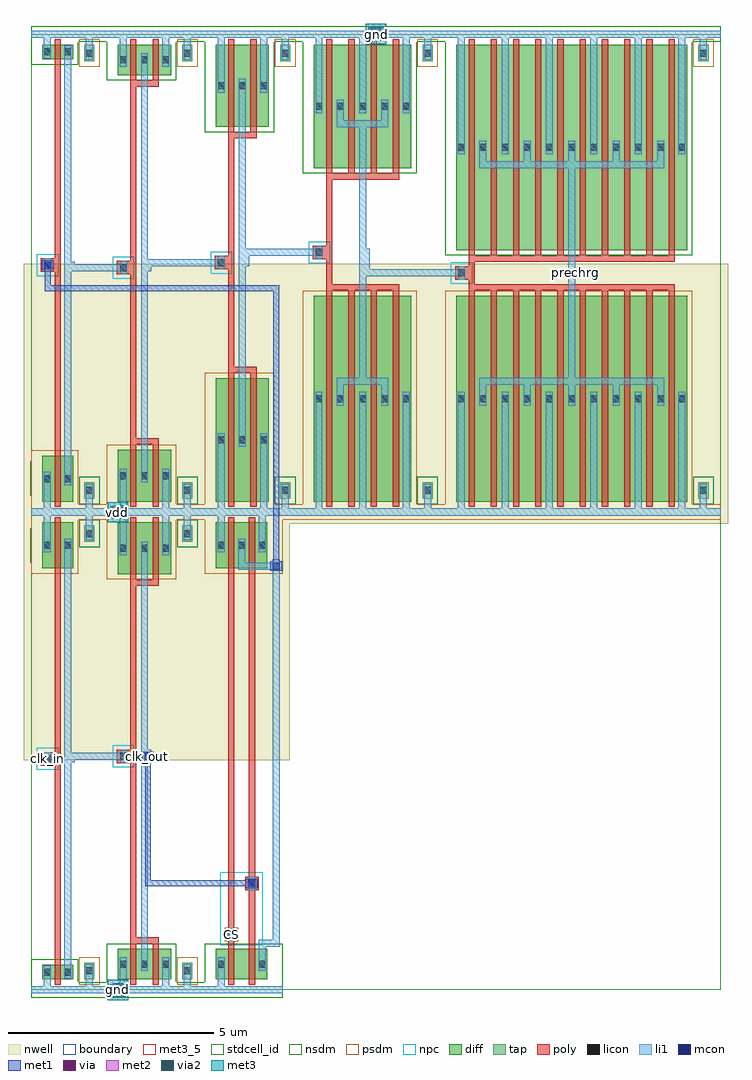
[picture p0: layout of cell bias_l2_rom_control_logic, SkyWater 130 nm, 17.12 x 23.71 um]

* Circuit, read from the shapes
.subckt bias_l2_rom_control_logic CS clk_in clk_out gnd prechrg vdd
XM1 bias_l2_rom_clock_driver_0/bias_l2_pinv_0_1/A clk_in gnd gnd sky130_fd_pr__nfet_01v8 w=0.36 l=0.15
XM2 bias_l2_rom_precharge_driver_2/bias_l2_pinv_0_1/A bias_l2_rom_precharge_driver_2/A gnd gnd sky130_fd_pr__nfet_01v8 w=0.36 l=0.15
XM3 clk_out bias_l2_rom_clock_driver_0/bias_l2_pinv_0_1/A gnd gnd sky130_fd_pr__nfet_01v8 w=0.74 l=0.15 m=2
XM4 bias_l2_rom_precharge_driver_2/bias_l2_pinv_1_2/A bias_l2_rom_precharge_driver_2/bias_l2_pinv_0_1/A gnd gnd sky130_fd_pr__nfet_01v8 w=0.74 l=0.15 m=2
XM5 bias_l2_rom_control_nand_1/bias_l2_nmos_m1_w0_740_sli_dactive_2/D CS gnd gnd sky130_fd_pr__nfet_01v8 w=0.74 l=0.15
XM6 bias_l2_rom_precharge_driver_2/bias_l2_pinv_2_3/A bias_l2_rom_precharge_driver_2/bias_l2_pinv_1_2/A gnd gnd sky130_fd_pr__nfet_01v8 w=2 l=0.15 m=2
XM7 bias_l2_rom_precharge_driver_2/A clk_out bias_l2_rom_control_nand_1/bias_l2_nmos_m1_w0_740_sli_dactive_2/D gnd sky130_fd_pr__nfet_01v8 w=0.74 l=0.15
XM8 bias_l2_rom_precharge_driver_2/bias_l2_pinv_3_4/A bias_l2_rom_precharge_driver_2/bias_l2_pinv_2_3/A gnd gnd sky130_fd_pr__nfet_01v8 w=3 l=0.15 m=4
XM9 prechrg bias_l2_rom_precharge_driver_2/bias_l2_pinv_3_4/A gnd gnd sky130_fd_pr__nfet_01v8 w=5 l=0.15 m=10
XM10 bias_l2_rom_clock_driver_0/bias_l2_pinv_0_1/A clk_in vdd vdd sky130_fd_pr__pfet_01v8 w=1.12 l=0.15
XM11 bias_l2_rom_precharge_driver_2/bias_l2_pinv_0_1/A bias_l2_rom_precharge_driver_2/A vdd vdd sky130_fd_pr__pfet_01v8 w=1.12 l=0.15
XM12 clk_out bias_l2_rom_clock_driver_0/bias_l2_pinv_0_1/A vdd vdd sky130_fd_pr__pfet_01v8 w=1.26 l=0.15 m=2
XM13 bias_l2_rom_precharge_driver_2/bias_l2_pinv_1_2/A bias_l2_rom_precharge_driver_2/bias_l2_pinv_0_1/A vdd vdd sky130_fd_pr__pfet_01v8 w=1.26 l=0.15 m=2
XM14 bias_l2_rom_precharge_driver_2/A CS vdd vdd sky130_fd_pr__pfet_01v8 w=1.12 l=0.15
XM15 bias_l2_rom_precharge_driver_2/bias_l2_pinv_2_3/A bias_l2_rom_precharge_driver_2/bias_l2_pinv_1_2/A vdd vdd sky130_fd_pr__pfet_01v8 w=3 l=0.15 m=2
XM16 vdd clk_out bias_l2_rom_precharge_driver_2/A vdd sky130_fd_pr__pfet_01v8 w=1.12 l=0.15
XM17 bias_l2_rom_precharge_driver_2/bias_l2_pinv_3_4/A bias_l2_rom_precharge_driver_2/bias_l2_pinv_2_3/A vdd vdd sky130_fd_pr__pfet_01v8 w=5 l=0.15 m=4
XM18 prechrg bias_l2_rom_precharge_driver_2/bias_l2_pinv_3_4/A vdd vdd sky130_fd_pr__pfet_01v8 w=5 l=0.15 m=10
.ends

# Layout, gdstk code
import gdstk
lib = gdstk.Library(unit=1e-6, precision=1e-09)
def R(c, l, rs):  # rectangles x0, y0, x1, y1
    for r in rs: c.add(gdstk.rectangle(r[:2], r[2:], *l))
def A(c, l, x, y, w, h, nx, ny, dx, dy):  # array of equal rectangles
    R(c, l, [(x+i*dx, y+j*dy, x+i*dx+w, y+j*dy+h) for i in range(nx) for j in range(ny)])
nwell = (64, 20)
diff = (65, 20)
tap = (65, 44)
poly = (66, 20)
licon = (66, 44)
li1 = (67, 20)
mcon = (67, 44)
met1 = (68, 20)
via = (68, 44)
met2 = (69, 20)
via2 = (69, 44)
met3_5 = (70, 5)
met3 = (70, 20)
stdcell_id = (81, 4)
nsdm = (93, 44)
psdm = (94, 20)
npc = (95, 20)
boundary = (235, 4)

bias_l2_contact_10 = lib.new_cell('bias_l2_contact_10')
R(bias_l2_contact_10, nwell, [(-0.295,-0.255,0.545,0.585)])
R(bias_l2_contact_10, diff, [(0,0.02,0.25,0.31)])
R(bias_l2_contact_10, licon, [(0.04,0.08,0.21,0.25)])
R(bias_l2_contact_10, li1, [(0.04,0,0.21,0.33)])
R(bias_l2_contact_10, stdcell_id, [(-0.295,-0.255,0.545,0.585)])
R(bias_l2_contact_10, psdm, [(-0.125,-0.105,0.375,0.435)])
R(bias_l2_contact_10, boundary, [(-0.295,-0.255,0.545,0.585)])

bias_l2_pmos_m1_w1_120_s = lib.new_cell('bias_l2_pmos_m1_w1_120_sli_dli_da_p')
R(bias_l2_pmos_m1_w1_120_s, nwell, [(-0.27,-0.27,1.02,1.39)])
R(bias_l2_pmos_m1_w1_120_s, diff, [(0,0,0.75,1.12)])
R(bias_l2_pmos_m1_w1_120_s, poly, [(0.3,-0.13,0.45,1.25), (0.3,-0.13,0.45,1.25)])
R(bias_l2_pmos_m1_w1_120_s, li1, [(0.04,0.395,0.21,0.725), (0.54,0.395,0.71,0.725)])
R(bias_l2_pmos_m1_w1_120_s, stdcell_id, [(-0.27,-0.27,1.02,1.39)])
R(bias_l2_pmos_m1_w1_120_s, psdm, [(-0.125,-0.125,0.875,1.245)])
R(bias_l2_pmos_m1_w1_120_s, boundary, [(-0.27,-0.27,1.02,1.39)])
bias_l2_pmos_m1_w1_120_s.add(gdstk.Reference(bias_l2_contact_10, (0,0.395)))
bias_l2_pmos_m1_w1_120_s.add(gdstk.Reference(bias_l2_contact_10, (0.5,0.395)))
bias_l2_pmos_m1_w1_120_s.add(gdstk.Label('G', (0.375,0.56), layer=66, texttype=5))
bias_l2_pmos_m1_w1_120_s.add(gdstk.Label('S', (0.125,0.56), layer=67, texttype=5))
bias_l2_pmos_m1_w1_120_s.add(gdstk.Label('D', (0.625,0.56), layer=67, texttype=5))

bias_l2_contact_8 = lib.new_cell('bias_l2_contact_8')
R(bias_l2_contact_8, diff, [(0,0.02,0.25,0.31)])
R(bias_l2_contact_8, licon, [(0.04,0.08,0.21,0.25)])
R(bias_l2_contact_8, li1, [(0.04,0,0.21,0.33)])
R(bias_l2_contact_8, stdcell_id, [(-0.125,-0.105,0.375,0.435)])
R(bias_l2_contact_8, nsdm, [(-0.125,-0.105,0.375,0.435)])
R(bias_l2_contact_8, boundary, [(-0.125,-0.105,0.375,0.435)])

bias_l2_nmos_m1_w0_360_s = lib.new_cell('bias_l2_nmos_m1_w0_360_sli_dli_da_p')
R(bias_l2_nmos_m1_w0_360_s, diff, [(0,0,0.75,0.36)])
R(bias_l2_nmos_m1_w0_360_s, poly, [(0.3,-0.13,0.45,0.49), (0.3,-0.13,0.45,0.49)])
R(bias_l2_nmos_m1_w0_360_s, li1, [(0.04,0.015,0.21,0.345), (0.54,0.015,0.71,0.345)])
R(bias_l2_nmos_m1_w0_360_s, stdcell_id, [(-0.125,-0.13,0.875,0.49)])
R(bias_l2_nmos_m1_w0_360_s, nsdm, [(-0.125,-0.125,0.875,0.485)])
R(bias_l2_nmos_m1_w0_360_s, boundary, [(-0.125,-0.13,0.875,0.49)])
bias_l2_nmos_m1_w0_360_s.add(gdstk.Reference(bias_l2_contact_8, (0,0.015)))
bias_l2_nmos_m1_w0_360_s.add(gdstk.Reference(bias_l2_contact_8, (0.5,0.015)))
bias_l2_nmos_m1_w0_360_s.add(gdstk.Label('G', (0.375,0.18), layer=66, texttype=5))
bias_l2_nmos_m1_w0_360_s.add(gdstk.Label('S', (0.125,0.18), layer=67, texttype=5))
bias_l2_nmos_m1_w0_360_s.add(gdstk.Label('D', (0.625,0.18), layer=67, texttype=5))

bias_l2_contact_26 = lib.new_cell('bias_l2_contact_26')
R(bias_l2_contact_26, nwell, [(-0.295,-0.215,0.545,0.625)])
R(bias_l2_contact_26, tap, [(0,0,0.25,0.41)])
R(bias_l2_contact_26, licon, [(0.04,0.12,0.21,0.29)])
R(bias_l2_contact_26, li1, [(0.04,0.04,0.21,0.37)])
R(bias_l2_contact_26, stdcell_id, [(-0.295,-0.215,0.545,0.625)])
R(bias_l2_contact_26, nsdm, [(-0.125,-0.125,0.375,0.535)])
R(bias_l2_contact_26, boundary, [(-0.295,-0.215,0.545,0.625)])

bias_l2_contact_27 = lib.new_cell('bias_l2_contact_27')
R(bias_l2_contact_27, tap, [(0,0,0.25,0.41)])
R(bias_l2_contact_27, licon, [(0.04,0.12,0.21,0.29)])
R(bias_l2_contact_27, li1, [(0.04,0.04,0.21,0.37)])
R(bias_l2_contact_27, stdcell_id, [(-0.125,-0.125,0.375,0.535)])
R(bias_l2_contact_27, psdm, [(-0.125,-0.125,0.375,0.535)])
R(bias_l2_contact_27, boundary, [(-0.125,-0.125,0.375,0.535)])

bias_l2_contact_11 = lib.new_cell('bias_l2_contact_11')
R(bias_l2_contact_11, poly, [(0,0,0.33,0.33)])
R(bias_l2_contact_11, licon, [(0.08,0.08,0.25,0.25)])
R(bias_l2_contact_11, li1, [(0.08,0,0.25,0.33)])
R(bias_l2_contact_11, stdcell_id, [(-0.1,-0.1,0.43,0.43)])
R(bias_l2_contact_11, npc, [(-0.1,-0.1,0.43,0.43)])
R(bias_l2_contact_11, boundary, [(-0.1,-0.1,0.43,0.43)])

bias_l2_pinv = lib.new_cell('bias_l2_pinv')
R(bias_l2_pinv, nwell, [(-0.18,5.575,2.02,11.9)])
R(bias_l2_pinv, poly, [(0.57,0.745,0.72,10.11), (0.405,5.45,0.57,5.78)])
R(bias_l2_pinv, li1, [(0,-0.085,1.84,0.085), (0.31,-0.085,0.48,0.27), (1.33,0,1.5,0.46), (0.81,0.27,0.98,10.965), (0.32,5.45,0.49,5.78), (0.895,5.53,1.065,5.7), (0.31,10.635,0.48,11.7), (1.33,11.09,1.5,11.61), (0,11.53,1.84,11.7)])
R(bias_l2_pinv, stdcell_id, [(0,0,1.84,11.61), (0,0,1.84,11.61)])
R(bias_l2_pinv, nsdm, [(0,-0.19,1.84,0.19), (0,0,1.145,0.74)])
R(bias_l2_pinv, psdm, [(0,10.115,1.145,11.615), (0,11.42,1.84,11.8)])
R(bias_l2_pinv, boundary, [(0,0,1.84,11.61), (0,0,1.84,11.61)])
bias_l2_pinv.add(gdstk.Reference(bias_l2_pmos_m1_w1_120_s, (0.27,10.24)))
bias_l2_pinv.add(gdstk.Reference(bias_l2_nmos_m1_w0_360_s, (0.27,0.255)))
bias_l2_pinv.add(gdstk.Reference(bias_l2_contact_26, (1.29,10.885)))
bias_l2_pinv.add(gdstk.Reference(bias_l2_contact_27, (1.29,0.255)))
bias_l2_pinv.add(gdstk.Reference(bias_l2_contact_11, (0.24,5.45)))
bias_l2_pinv.add(gdstk.Label('A', (0.405,5.615), layer=67, texttype=5))
bias_l2_pinv.add(gdstk.Label('Z', (0.98,5.615), layer=67, texttype=5))
bias_l2_pinv.add(gdstk.Label('gnd', (0.92,0), layer=67, texttype=5))
bias_l2_pinv.add(gdstk.Label('vdd', (0.92,11.615), layer=67, texttype=5))

bias_l2_pmos_m2_w1_260_s = lib.new_cell('bias_l2_pmos_m2_w1_260_sli_dli_da_p')
R(bias_l2_pmos_m2_w1_260_s, nwell, [(-0.27,-0.27,1.56,1.53)])
R(bias_l2_pmos_m2_w1_260_s, diff, [(0,0,1.29,1.26)])
R(bias_l2_pmos_m2_w1_260_s, poly, [(0.3,-0.28,0.99,-0.13), (0.3,-0.13,0.45,1.39), (0.84,-0.13,0.99,1.39)])
A(bias_l2_pmos_m2_w1_260_s, li1, 0.04, 0.465, 0.17, 0.33, 3, 1, 0.52, 0)
R(bias_l2_pmos_m2_w1_260_s, stdcell_id, [(-0.27,-0.28,1.56,1.53)])
R(bias_l2_pmos_m2_w1_260_s, psdm, [(-0.125,-0.125,1.415,1.385)])
R(bias_l2_pmos_m2_w1_260_s, boundary, [(-0.27,-0.28,1.56,1.53)])
bias_l2_pmos_m2_w1_260_s.add(gdstk.Reference(bias_l2_contact_10, (0,0.465)))
bias_l2_pmos_m2_w1_260_s.add(gdstk.Reference(bias_l2_contact_10, (0.52,0.465)))
bias_l2_pmos_m2_w1_260_s.add(gdstk.Reference(bias_l2_contact_10, (1.04,0.465)))
bias_l2_pmos_m2_w1_260_s.add(gdstk.Label('G', (0.645,-0.205), layer=66, texttype=5))
bias_l2_pmos_m2_w1_260_s.add(gdstk.Label('S', (1.165,0.63), layer=67, texttype=5))
bias_l2_pmos_m2_w1_260_s.add(gdstk.Label('S', (0.125,0.63), layer=67, texttype=5))
bias_l2_pmos_m2_w1_260_s.add(gdstk.Label('D', (0.645,0.63), layer=67, texttype=5))

bias_l2_nmos_m2_w0_740_s = lib.new_cell('bias_l2_nmos_m2_w0_740_sli_dli_da_p')
R(bias_l2_nmos_m2_w0_740_s, diff, [(0,0,1.29,0.74)])
R(bias_l2_nmos_m2_w0_740_s, poly, [(0.3,-0.13,0.45,0.87), (0.84,-0.13,0.99,0.87), (0.3,0.87,0.99,1.02)])
A(bias_l2_nmos_m2_w0_740_s, li1, 0.04, 0.205, 0.17, 0.33, 3, 1, 0.52, 0)
R(bias_l2_nmos_m2_w0_740_s, stdcell_id, [(-0.125,-0.13,1.415,1.02)])
R(bias_l2_nmos_m2_w0_740_s, nsdm, [(-0.125,-0.125,1.415,0.865)])
R(bias_l2_nmos_m2_w0_740_s, boundary, [(-0.125,-0.13,1.415,1.02)])
bias_l2_nmos_m2_w0_740_s.add(gdstk.Reference(bias_l2_contact_8, (0,0.205)))
bias_l2_nmos_m2_w0_740_s.add(gdstk.Reference(bias_l2_contact_8, (0.52,0.205)))
bias_l2_nmos_m2_w0_740_s.add(gdstk.Reference(bias_l2_contact_8, (1.04,0.205)))
bias_l2_nmos_m2_w0_740_s.add(gdstk.Label('G', (0.645,0.945), layer=66, texttype=5))
bias_l2_nmos_m2_w0_740_s.add(gdstk.Label('S', (0.125,0.37), layer=67, texttype=5))
bias_l2_nmos_m2_w0_740_s.add(gdstk.Label('S', (1.165,0.37), layer=67, texttype=5))
bias_l2_nmos_m2_w0_740_s.add(gdstk.Label('D', (0.645,0.37), layer=67, texttype=5))

bias_l2_pinv_0 = lib.new_cell('bias_l2_pinv_0')
R(bias_l2_pinv_0, nwell, [(-0.18,5.575,2.56,11.9)])
R(bias_l2_pinv_0, poly, [(0.57,1.275,0.72,9.82), (0.405,5.51,0.57,5.84)])
R(bias_l2_pinv_0, li1, [(0,-0.085,2.38,0.085), (0.31,-0.085,0.48,0.46), (1.35,-0.085,1.52,0.46), (1.87,0,2.04,0.46), (0.83,0.46,1,10.895), (0.32,5.51,0.49,5.84), (0.915,5.59,1.085,5.76), (0.31,10.565,0.48,11.7), (1.35,10.565,1.52,11.7), (1.87,11.09,2.04,11.61), (0,11.53,2.38,11.7)])
R(bias_l2_pinv_0, stdcell_id, [(0,0,2.38,11.61), (0,0,2.38,11.61)])
R(bias_l2_pinv_0, nsdm, [(0,-0.19,2.38,0.19), (0,0,1.685,1.12)])
R(bias_l2_pinv_0, psdm, [(0,9.975,1.685,11.615), (0,11.42,2.38,11.8)])
R(bias_l2_pinv_0, boundary, [(0,0,2.38,11.61), (0,0,2.38,11.61)])
bias_l2_pinv_0.add(gdstk.Reference(bias_l2_pmos_m2_w1_260_s, (0.27,10.1)))
bias_l2_pinv_0.add(gdstk.Reference(bias_l2_nmos_m2_w0_740_s, (0.27,0.255)))
bias_l2_pinv_0.add(gdstk.Reference(bias_l2_contact_26, (1.83,10.885)))
bias_l2_pinv_0.add(gdstk.Reference(bias_l2_contact_27, (1.83,0.255)))
bias_l2_pinv_0.add(gdstk.Reference(bias_l2_contact_11, (0.24,5.51)))
bias_l2_pinv_0.add(gdstk.Label('A', (0.405,5.675), layer=67, texttype=5))
bias_l2_pinv_0.add(gdstk.Label('Z', (1,5.675), layer=67, texttype=5))
bias_l2_pinv_0.add(gdstk.Label('gnd', (1.19,0), layer=67, texttype=5))
bias_l2_pinv_0.add(gdstk.Label('vdd', (1.19,11.615), layer=67, texttype=5))

bias_l2_rom_clock_driver = lib.new_cell('bias_l2_rom_clock_driver')
R(bias_l2_rom_clock_driver, nwell, [(-0.18,5.575,4.4,11.9)])
R(bias_l2_rom_clock_driver, li1, [(0,-0.085,4.22,0.085), (0.32,5.45,0.49,5.78), (0.895,5.59,1.065,5.76), (0.98,5.59,2.245,5.76), (2.755,5.59,2.925,5.76), (0.895,5.615,1.065,5.675), (0,11.525,4.22,11.695)])
R(bias_l2_rom_clock_driver, stdcell_id, [(0,0,4.22,11.61), (0,0,4.22,11.61)])
R(bias_l2_rom_clock_driver, nsdm, [(0,-0.19,4.22,0.19)])
R(bias_l2_rom_clock_driver, psdm, [(0,11.42,4.22,11.8)])
R(bias_l2_rom_clock_driver, boundary, [(0,0,4.22,11.61), (0,0,4.22,11.61)])
bias_l2_rom_clock_driver.add(gdstk.Reference(bias_l2_pinv, (0,0)))
bias_l2_rom_clock_driver.add(gdstk.Reference(bias_l2_pinv_0, (1.84,0)))
bias_l2_rom_clock_driver.add(gdstk.Label('Z', (2.84,5.675), layer=67, texttype=5))
bias_l2_rom_clock_driver.add(gdstk.Label('A', (0.405,5.615), layer=67, texttype=5))
bias_l2_rom_clock_driver.add(gdstk.Label('gnd', (2.11,0), layer=67, texttype=5))
bias_l2_rom_clock_driver.add(gdstk.Label('vdd', (2.11,11.61), layer=67, texttype=5))

c_bias_l2_pmos_m1_w1_120_s = lib.new_cell('bias_l2_pmos_m1_w1_120_sli_dli')
R(c_bias_l2_pmos_m1_w1_120_s, nwell, [(-0.27,-0.27,1.02,1.39)])
R(c_bias_l2_pmos_m1_w1_120_s, diff, [(0,0,0.75,1.12)])
R(c_bias_l2_pmos_m1_w1_120_s, poly, [(0.3,-0.13,0.45,1.25), (0.3,-0.13,0.45,1.25)])
R(c_bias_l2_pmos_m1_w1_120_s, li1, [(0.04,0.395,0.21,0.725), (0.54,0.395,0.71,0.725)])
R(c_bias_l2_pmos_m1_w1_120_s, stdcell_id, [(-0.27,-0.27,1.02,1.39)])
R(c_bias_l2_pmos_m1_w1_120_s, psdm, [(-0.125,-0.125,0.875,1.245)])
R(c_bias_l2_pmos_m1_w1_120_s, boundary, [(-0.27,-0.27,1.02,1.39)])
c_bias_l2_pmos_m1_w1_120_s.add(gdstk.Reference(bias_l2_contact_10, (0,0.395)))
c_bias_l2_pmos_m1_w1_120_s.add(gdstk.Reference(bias_l2_contact_10, (0.5,0.395)))
c_bias_l2_pmos_m1_w1_120_s.add(gdstk.Label('G', (0.375,0.56), layer=66, texttype=5))
c_bias_l2_pmos_m1_w1_120_s.add(gdstk.Label('S', (0.125,0.56), layer=67, texttype=5))
c_bias_l2_pmos_m1_w1_120_s.add(gdstk.Label('D', (0.625,0.56), layer=67, texttype=5))

bias_l2_nmos_m1_w0_740_s = lib.new_cell('bias_l2_nmos_m1_w0_740_sli_dactive')
R(bias_l2_nmos_m1_w0_740_s, diff, [(0,0,0.75,0.74), (0.55,0.295,0.7,0.445)])
R(bias_l2_nmos_m1_w0_740_s, poly, [(0.3,-0.13,0.45,0.87), (0.3,-0.13,0.45,0.87)])
R(bias_l2_nmos_m1_w0_740_s, li1, [(0.04,0.205,0.21,0.535)])
R(bias_l2_nmos_m1_w0_740_s, stdcell_id, [(-0.125,-0.13,0.875,0.87)])
R(bias_l2_nmos_m1_w0_740_s, nsdm, [(-0.125,-0.125,0.875,0.865)])
R(bias_l2_nmos_m1_w0_740_s, boundary, [(-0.125,-0.13,0.875,0.87)])
bias_l2_nmos_m1_w0_740_s.add(gdstk.Reference(bias_l2_contact_8, (0,0.205)))
bias_l2_nmos_m1_w0_740_s.add(gdstk.Label('G', (0.375,0.37), layer=66, texttype=5))
bias_l2_nmos_m1_w0_740_s.add(gdstk.Label('S', (0.125,0.37), layer=67, texttype=5))
bias_l2_nmos_m1_w0_740_s.add(gdstk.Label('D', (0.625,0.37), layer=65, texttype=5))

c_bias_l2_nmos_m1_w0_740_s = lib.new_cell('bias_l2_nmos_m1_w0_740_sactive_dli')
R(c_bias_l2_nmos_m1_w0_740_s, diff, [(0,0,0.75,0.74), (0.05,0.295,0.2,0.445)])
R(c_bias_l2_nmos_m1_w0_740_s, poly, [(0.3,-0.13,0.45,0.87), (0.3,-0.13,0.45,0.87)])
R(c_bias_l2_nmos_m1_w0_740_s, li1, [(0.54,0.205,0.71,0.535)])
R(c_bias_l2_nmos_m1_w0_740_s, stdcell_id, [(-0.125,-0.13,0.875,0.87)])
R(c_bias_l2_nmos_m1_w0_740_s, nsdm, [(-0.125,-0.125,0.875,0.865)])
R(c_bias_l2_nmos_m1_w0_740_s, boundary, [(-0.125,-0.13,0.875,0.87)])
c_bias_l2_nmos_m1_w0_740_s.add(gdstk.Reference(bias_l2_contact_8, (0.5,0.205)))
c_bias_l2_nmos_m1_w0_740_s.add(gdstk.Label('G', (0.375,0.37), layer=66, texttype=5))
c_bias_l2_nmos_m1_w0_740_s.add(gdstk.Label('S', (0.125,0.37), layer=65, texttype=5))
c_bias_l2_nmos_m1_w0_740_s.add(gdstk.Label('D', (0.625,0.37), layer=67, texttype=5))

bias_l2_rom_control_nand = lib.new_cell('bias_l2_rom_control_nand')
R(bias_l2_rom_control_nand, nwell, [(-0.18,5.575,2.07,11.9)])
R(bias_l2_rom_control_nand, poly, [(0.57,1.125,0.72,10.11), (1.07,1.125,1.22,10.11), (0.57,1.185,0.645,1.515), (1.07,2.425,1.145,2.755)])
R(bias_l2_rom_control_nand, li1, [(0,-0.085,1.89,0.085), (0.31,-0.085,0.48,0.46), (1.31,0.79,1.48,1.13), (1.31,1.045,1.48,1.215), (1.395,1.045,1.735,1.215), (1.65,1.045,1.82,1.215), (1.65,1.13,1.82,10.3), (0.56,1.185,0.73,1.515), (1.06,2.425,1.23,2.755), (0.81,10.215,0.98,10.385), (0.895,10.215,1.735,10.385), (1.65,10.215,1.82,10.385), (0.81,10.3,0.98,10.635), (0.31,10.635,0.48,11.7), (1.31,10.635,1.48,11.7), (0,11.53,1.89,11.7)])
R(bias_l2_rom_control_nand, stdcell_id, [(0,0,1.89,11.61), (0,0,1.89,11.61)])
R(bias_l2_rom_control_nand, nsdm, [(0,-0.19,1.89,0.19), (0,0,1.89,1.12)])
R(bias_l2_rom_control_nand, psdm, [(0,10.115,1.89,11.615), (0,11.42,1.89,11.8)])
R(bias_l2_rom_control_nand, npc, [(0.38,1.085,1.41,2.855)])
R(bias_l2_rom_control_nand, boundary, [(0,0,1.89,11.61), (0,0,1.89,11.61)])
bias_l2_rom_control_nand.add(gdstk.Reference(c_bias_l2_pmos_m1_w1_120_s, (0.27,10.24)))
bias_l2_rom_control_nand.add(gdstk.Reference(c_bias_l2_pmos_m1_w1_120_s, (0.77,10.24)))
bias_l2_rom_control_nand.add(gdstk.Reference(bias_l2_nmos_m1_w0_740_s, (0.27,0.255)))
bias_l2_rom_control_nand.add(gdstk.Reference(c_bias_l2_nmos_m1_w0_740_s, (0.77,0.255)))
bias_l2_rom_control_nand.add(gdstk.Reference(bias_l2_contact_11, (0.48,1.185)))
bias_l2_rom_control_nand.add(gdstk.Reference(bias_l2_contact_11, (0.98,2.425)))
bias_l2_rom_control_nand.add(gdstk.Label('Z', (1.735,10.3), layer=67, texttype=5))
bias_l2_rom_control_nand.add(gdstk.Label('gnd', (0.945,0), layer=67, texttype=5))
bias_l2_rom_control_nand.add(gdstk.Label('vdd', (0.945,11.615), layer=67, texttype=5))
bias_l2_rom_control_nand.add(gdstk.Label('A', (0.645,1.35), layer=67, texttype=5))
bias_l2_rom_control_nand.add(gdstk.Label('B', (1.145,2.59), layer=67, texttype=5))

bias_l2_pmos_m2_w3_000_s = lib.new_cell('bias_l2_pmos_m2_w3_000_sli_dli_da_p')
R(bias_l2_pmos_m2_w3_000_s, nwell, [(-0.27,-0.27,1.56,3.27)])
R(bias_l2_pmos_m2_w3_000_s, diff, [(0,0,1.29,3)])
R(bias_l2_pmos_m2_w3_000_s, poly, [(0.3,-0.28,0.99,-0.13), (0.3,-0.13,0.45,3.13), (0.84,-0.13,0.99,3.13)])
A(bias_l2_pmos_m2_w3_000_s, li1, 0.04, 1.335, 0.17, 0.33, 3, 1, 0.52, 0)
R(bias_l2_pmos_m2_w3_000_s, stdcell_id, [(-0.27,-0.28,1.56,3.27)])
R(bias_l2_pmos_m2_w3_000_s, psdm, [(-0.125,-0.125,1.415,3.125)])
R(bias_l2_pmos_m2_w3_000_s, boundary, [(-0.27,-0.28,1.56,3.27)])
bias_l2_pmos_m2_w3_000_s.add(gdstk.Reference(bias_l2_contact_10, (0,1.335)))
bias_l2_pmos_m2_w3_000_s.add(gdstk.Reference(bias_l2_contact_10, (0.52,1.335)))
bias_l2_pmos_m2_w3_000_s.add(gdstk.Reference(bias_l2_contact_10, (1.04,1.335)))
bias_l2_pmos_m2_w3_000_s.add(gdstk.Label('G', (0.645,-0.205), layer=66, texttype=5))
bias_l2_pmos_m2_w3_000_s.add(gdstk.Label('S', (1.165,1.5), layer=67, texttype=5))
bias_l2_pmos_m2_w3_000_s.add(gdstk.Label('S', (0.125,1.5), layer=67, texttype=5))
bias_l2_pmos_m2_w3_000_s.add(gdstk.Label('D', (0.645,1.5), layer=67, texttype=5))

bias_l2_nmos_m2_w2_000_s = lib.new_cell('bias_l2_nmos_m2_w2_000_sli_dli_da_p')
R(bias_l2_nmos_m2_w2_000_s, diff, [(0,0,1.29,2)])
R(bias_l2_nmos_m2_w2_000_s, poly, [(0.3,-0.13,0.45,2.13), (0.84,-0.13,0.99,2.13), (0.3,2.13,0.99,2.28)])
A(bias_l2_nmos_m2_w2_000_s, li1, 0.04, 0.835, 0.17, 0.33, 3, 1, 0.52, 0)
R(bias_l2_nmos_m2_w2_000_s, stdcell_id, [(-0.125,-0.13,1.415,2.28)])
R(bias_l2_nmos_m2_w2_000_s, nsdm, [(-0.125,-0.125,1.415,2.125)])
R(bias_l2_nmos_m2_w2_000_s, boundary, [(-0.125,-0.13,1.415,2.28)])
bias_l2_nmos_m2_w2_000_s.add(gdstk.Reference(bias_l2_contact_8, (0,0.835)))
bias_l2_nmos_m2_w2_000_s.add(gdstk.Reference(bias_l2_contact_8, (0.52,0.835)))
bias_l2_nmos_m2_w2_000_s.add(gdstk.Reference(bias_l2_contact_8, (1.04,0.835)))
bias_l2_nmos_m2_w2_000_s.add(gdstk.Label('G', (0.645,2.205), layer=66, texttype=5))
bias_l2_nmos_m2_w2_000_s.add(gdstk.Label('S', (0.125,1), layer=67, texttype=5))
bias_l2_nmos_m2_w2_000_s.add(gdstk.Label('S', (1.165,1), layer=67, texttype=5))
bias_l2_nmos_m2_w2_000_s.add(gdstk.Label('D', (0.645,1), layer=67, texttype=5))

bias_l2_pinv_1 = lib.new_cell('bias_l2_pinv_1')
R(bias_l2_pinv_1, nwell, [(-0.18,5.575,2.56,11.9)])
R(bias_l2_pinv_1, poly, [(0.57,2.535,0.72,8.08), (0.405,5.39,0.57,5.72)])
R(bias_l2_pinv_1, li1, [(0,-0.085,2.38,0.085), (0.31,-0.085,0.48,1.09), (1.35,-0.085,1.52,1.09), (1.87,0,2.04,0.46), (0.83,1.09,1,10.025), (0.32,5.39,0.49,5.72), (0.915,5.47,1.085,5.64), (0.31,9.695,0.48,11.7), (1.35,9.695,1.52,11.7), (1.87,11.09,2.04,11.61), (0,11.53,2.38,11.7)])
R(bias_l2_pinv_1, stdcell_id, [(0,0,2.38,11.61), (0,0,2.38,11.61)])
R(bias_l2_pinv_1, nsdm, [(0,-0.19,2.38,0.19), (0,0,1.685,2.38)])
R(bias_l2_pinv_1, psdm, [(0,8.235,1.685,11.615), (0,11.42,2.38,11.8)])
R(bias_l2_pinv_1, boundary, [(0,0,2.38,11.61), (0,0,2.38,11.61)])
bias_l2_pinv_1.add(gdstk.Reference(bias_l2_pmos_m2_w3_000_s, (0.27,8.36)))
bias_l2_pinv_1.add(gdstk.Reference(bias_l2_nmos_m2_w2_000_s, (0.27,0.255)))
bias_l2_pinv_1.add(gdstk.Reference(bias_l2_contact_26, (1.83,10.885)))
bias_l2_pinv_1.add(gdstk.Reference(bias_l2_contact_27, (1.83,0.255)))
bias_l2_pinv_1.add(gdstk.Reference(bias_l2_contact_11, (0.24,5.39)))
bias_l2_pinv_1.add(gdstk.Label('A', (0.405,5.555), layer=67, texttype=5))
bias_l2_pinv_1.add(gdstk.Label('Z', (1,5.555), layer=67, texttype=5))
bias_l2_pinv_1.add(gdstk.Label('gnd', (1.19,0), layer=67, texttype=5))
bias_l2_pinv_1.add(gdstk.Label('vdd', (1.19,11.615), layer=67, texttype=5))

bias_l2_pmos_m4_w5_000_s = lib.new_cell('bias_l2_pmos_m4_w5_000_sli_dli_da_p')
R(bias_l2_pmos_m4_w5_000_s, nwell, [(-0.27,-0.27,2.64,5.27)])
R(bias_l2_pmos_m4_w5_000_s, diff, [(0,0,2.37,5)])
A(bias_l2_pmos_m4_w5_000_s, poly, 0.3, -0.13, 0.15, 5.26, 4, 1, 0.54, 0)
R(bias_l2_pmos_m4_w5_000_s, poly, [(0.3,-0.28,2.07,-0.13)])
A(bias_l2_pmos_m4_w5_000_s, li1, 0.04, 2.335, 0.17, 0.33, 3, 1, 1.06, 0)
R(bias_l2_pmos_m4_w5_000_s, li1, [(0.56,1.995,1.81,2.165), (0.56,2.08,0.73,2.5), (1.64,2.08,1.81,2.5)])
R(bias_l2_pmos_m4_w5_000_s, stdcell_id, [(-0.27,-0.28,2.64,5.27)])
R(bias_l2_pmos_m4_w5_000_s, psdm, [(-0.125,-0.125,2.495,5.125)])
R(bias_l2_pmos_m4_w5_000_s, boundary, [(-0.27,-0.28,2.64,5.27)])
bias_l2_pmos_m4_w5_000_s.add(gdstk.Reference(bias_l2_contact_10, (0,2.335)))
bias_l2_pmos_m4_w5_000_s.add(gdstk.Reference(bias_l2_contact_10, (0.52,2.335)))
bias_l2_pmos_m4_w5_000_s.add(gdstk.Reference(bias_l2_contact_10, (1.06,2.335)))
bias_l2_pmos_m4_w5_000_s.add(gdstk.Reference(bias_l2_contact_10, (1.6,2.335)))
bias_l2_pmos_m4_w5_000_s.add(gdstk.Reference(bias_l2_contact_10, (2.12,2.335)))
bias_l2_pmos_m4_w5_000_s.add(gdstk.Label('G', (1.185,-0.205), layer=66, texttype=5))
bias_l2_pmos_m4_w5_000_s.add(gdstk.Label('S', (0.125,2.5), layer=67, texttype=5))
bias_l2_pmos_m4_w5_000_s.add(gdstk.Label('S', (1.185,2.5), layer=67, texttype=5))
bias_l2_pmos_m4_w5_000_s.add(gdstk.Label('S', (2.245,2.5), layer=67, texttype=5))
bias_l2_pmos_m4_w5_000_s.add(gdstk.Label('D', (1.185,2.08), layer=67, texttype=5))

bias_l2_nmos_m4_w3_000_s = lib.new_cell('bias_l2_nmos_m4_w3_000_sli_dli_da_p')
R(bias_l2_nmos_m4_w3_000_s, diff, [(0,0,2.37,3)])
A(bias_l2_nmos_m4_w3_000_s, poly, 0.3, -0.13, 0.15, 3.26, 4, 1, 0.54, 0)
R(bias_l2_nmos_m4_w3_000_s, poly, [(0.3,3.13,2.07,3.28)])
A(bias_l2_nmos_m4_w3_000_s, li1, 0.04, 1.335, 0.17, 0.33, 3, 1, 1.06, 0)
R(bias_l2_nmos_m4_w3_000_s, li1, [(0.56,1.5,0.73,1.92), (1.64,1.5,1.81,1.92), (0.56,1.835,1.81,2.005)])
R(bias_l2_nmos_m4_w3_000_s, stdcell_id, [(-0.125,-0.13,2.495,3.28)])
R(bias_l2_nmos_m4_w3_000_s, nsdm, [(-0.125,-0.125,2.495,3.125)])
R(bias_l2_nmos_m4_w3_000_s, boundary, [(-0.125,-0.13,2.495,3.28)])
bias_l2_nmos_m4_w3_000_s.add(gdstk.Reference(bias_l2_contact_8, (0,1.335)))
bias_l2_nmos_m4_w3_000_s.add(gdstk.Reference(bias_l2_contact_8, (0.52,1.335)))
bias_l2_nmos_m4_w3_000_s.add(gdstk.Reference(bias_l2_contact_8, (1.06,1.335)))
bias_l2_nmos_m4_w3_000_s.add(gdstk.Reference(bias_l2_contact_8, (1.6,1.335)))
bias_l2_nmos_m4_w3_000_s.add(gdstk.Reference(bias_l2_contact_8, (2.12,1.335)))
bias_l2_nmos_m4_w3_000_s.add(gdstk.Label('G', (1.185,3.205), layer=66, texttype=5))
bias_l2_nmos_m4_w3_000_s.add(gdstk.Label('S', (2.245,1.5), layer=67, texttype=5))
bias_l2_nmos_m4_w3_000_s.add(gdstk.Label('S', (0.125,1.5), layer=67, texttype=5))
bias_l2_nmos_m4_w3_000_s.add(gdstk.Label('S', (1.185,1.5), layer=67, texttype=5))
bias_l2_nmos_m4_w3_000_s.add(gdstk.Label('D', (1.185,1.92), layer=67, texttype=5))

bias_l2_pinv_2 = lib.new_cell('bias_l2_pinv_2')
R(bias_l2_pinv_2, nwell, [(-0.18,5.575,3.64,11.9)])
R(bias_l2_pinv_2, poly, [(0.57,3.535,0.72,6.08), (0.405,5.14,0.57,5.47)])
A(bias_l2_pinv_2, li1, 0.31, -0.085, 0.17, 1.675, 3, 1, 1.06, 0)
A(bias_l2_pinv_2, li1, 0.31, 8.695, 0.17, 3.005, 3, 1, 1.06, 0)
R(bias_l2_pinv_2, li1, [(0,-0.085,3.46,0.085), (2.95,0,3.12,0.46), (1.37,2.09,1.54,8.525), (0.32,5.14,0.49,5.47), (1.455,5.22,1.625,5.39), (2.95,11.09,3.12,11.61), (0,11.53,3.46,11.7)])
R(bias_l2_pinv_2, stdcell_id, [(0,0,3.46,11.61), (0,0,3.46,11.61)])
R(bias_l2_pinv_2, nsdm, [(0,-0.19,3.46,0.19), (0,0,2.765,3.38)])
R(bias_l2_pinv_2, psdm, [(0,6.235,2.765,11.615), (0,11.42,3.46,11.8)])
R(bias_l2_pinv_2, boundary, [(0,0,3.46,11.61), (0,0,3.46,11.61)])
bias_l2_pinv_2.add(gdstk.Reference(bias_l2_pmos_m4_w5_000_s, (0.27,6.36)))
bias_l2_pinv_2.add(gdstk.Reference(bias_l2_nmos_m4_w3_000_s, (0.27,0.255)))
bias_l2_pinv_2.add(gdstk.Reference(bias_l2_contact_26, (2.91,10.885)))
bias_l2_pinv_2.add(gdstk.Reference(bias_l2_contact_27, (2.91,0.255)))
bias_l2_pinv_2.add(gdstk.Reference(bias_l2_contact_11, (0.24,5.14)))
bias_l2_pinv_2.add(gdstk.Label('A', (0.405,5.305), layer=67, texttype=5))
bias_l2_pinv_2.add(gdstk.Label('Z', (1.54,5.305), layer=67, texttype=5))
bias_l2_pinv_2.add(gdstk.Label('gnd', (1.73,0), layer=67, texttype=5))
bias_l2_pinv_2.add(gdstk.Label('vdd', (1.73,11.615), layer=67, texttype=5))

bias_l2_pmos_m10_w5_000_ = lib.new_cell('bias_l2_pmos_m10_w5_000_sli_dli_da_p')
R(bias_l2_pmos_m10_w5_000_, nwell, [(-0.27,-0.27,5.88,5.27)])
R(bias_l2_pmos_m10_w5_000_, diff, [(0,0,5.61,5)])
A(bias_l2_pmos_m10_w5_000_, poly, 0.3, -0.13, 0.15, 5.26, 10, 1, 0.54, 0)
R(bias_l2_pmos_m10_w5_000_, poly, [(0.3,-0.28,5.31,-0.13)])
A(bias_l2_pmos_m10_w5_000_, li1, 0.56, 2.08, 0.17, 0.42, 5, 1, 1.08, 0)
A(bias_l2_pmos_m10_w5_000_, li1, 1.1, 2.335, 0.17, 0.33, 4, 1, 1.08, 0)
R(bias_l2_pmos_m10_w5_000_, li1, [(0.56,1.995,5.05,2.165), (0.04,2.335,0.21,2.665), (5.4,2.335,5.57,2.665)])
R(bias_l2_pmos_m10_w5_000_, stdcell_id, [(-0.27,-0.28,5.88,5.27)])
R(bias_l2_pmos_m10_w5_000_, psdm, [(-0.125,-0.125,5.735,5.125)])
R(bias_l2_pmos_m10_w5_000_, boundary, [(-0.27,-0.28,5.88,5.27)])
bias_l2_pmos_m10_w5_000_.add(gdstk.Reference(bias_l2_contact_10, (0,2.335)))
bias_l2_pmos_m10_w5_000_.add(gdstk.Reference(bias_l2_contact_10, (0.52,2.335)))
bias_l2_pmos_m10_w5_000_.add(gdstk.Reference(bias_l2_contact_10, (1.06,2.335)))
bias_l2_pmos_m10_w5_000_.add(gdstk.Reference(bias_l2_contact_10, (1.6,2.335)))
bias_l2_pmos_m10_w5_000_.add(gdstk.Reference(bias_l2_contact_10, (2.14,2.335)))
bias_l2_pmos_m10_w5_000_.add(gdstk.Reference(bias_l2_contact_10, (2.68,2.335)))
bias_l2_pmos_m10_w5_000_.add(gdstk.Reference(bias_l2_contact_10, (3.22,2.335)))
bias_l2_pmos_m10_w5_000_.add(gdstk.Reference(bias_l2_contact_10, (3.76,2.335)))
bias_l2_pmos_m10_w5_000_.add(gdstk.Reference(bias_l2_contact_10, (4.3,2.335)))
bias_l2_pmos_m10_w5_000_.add(gdstk.Reference(bias_l2_contact_10, (4.84,2.335)))
bias_l2_pmos_m10_w5_000_.add(gdstk.Reference(bias_l2_contact_10, (5.36,2.335)))
bias_l2_pmos_m10_w5_000_.add(gdstk.Label('G', (2.805,-0.205), layer=66, texttype=5))
bias_l2_pmos_m10_w5_000_.add(gdstk.Label('S', (2.265,2.5), layer=67, texttype=5))
bias_l2_pmos_m10_w5_000_.add(gdstk.Label('S', (5.485,2.5), layer=67, texttype=5))
bias_l2_pmos_m10_w5_000_.add(gdstk.Label('S', (0.125,2.5), layer=67, texttype=5))
bias_l2_pmos_m10_w5_000_.add(gdstk.Label('S', (1.185,2.5), layer=67, texttype=5))
bias_l2_pmos_m10_w5_000_.add(gdstk.Label('S', (4.425,2.5), layer=67, texttype=5))
bias_l2_pmos_m10_w5_000_.add(gdstk.Label('S', (3.345,2.5), layer=67, texttype=5))
bias_l2_pmos_m10_w5_000_.add(gdstk.Label('D', (2.805,2.08), layer=67, texttype=5))

bias_l2_nmos_m10_w5_000_ = lib.new_cell('bias_l2_nmos_m10_w5_000_sli_dli_da_p')
R(bias_l2_nmos_m10_w5_000_, diff, [(0,0,5.61,5)])
A(bias_l2_nmos_m10_w5_000_, poly, 0.3, -0.13, 0.15, 5.26, 10, 1, 0.54, 0)
R(bias_l2_nmos_m10_w5_000_, poly, [(0.3,5.13,5.31,5.28)])
A(bias_l2_nmos_m10_w5_000_, li1, 1.1, 2.335, 0.17, 0.33, 4, 1, 1.08, 0)
A(bias_l2_nmos_m10_w5_000_, li1, 0.56, 2.5, 0.17, 0.42, 5, 1, 1.08, 0)
R(bias_l2_nmos_m10_w5_000_, li1, [(0.04,2.335,0.21,2.665), (5.4,2.335,5.57,2.665), (0.56,2.835,5.05,3.005)])
R(bias_l2_nmos_m10_w5_000_, stdcell_id, [(-0.125,-0.13,5.735,5.28)])
R(bias_l2_nmos_m10_w5_000_, nsdm, [(-0.125,-0.125,5.735,5.125)])
R(bias_l2_nmos_m10_w5_000_, boundary, [(-0.125,-0.13,5.735,5.28)])
bias_l2_nmos_m10_w5_000_.add(gdstk.Reference(bias_l2_contact_8, (0,2.335)))
bias_l2_nmos_m10_w5_000_.add(gdstk.Reference(bias_l2_contact_8, (0.52,2.335)))
bias_l2_nmos_m10_w5_000_.add(gdstk.Reference(bias_l2_contact_8, (1.06,2.335)))
bias_l2_nmos_m10_w5_000_.add(gdstk.Reference(bias_l2_contact_8, (1.6,2.335)))
bias_l2_nmos_m10_w5_000_.add(gdstk.Reference(bias_l2_contact_8, (2.14,2.335)))
bias_l2_nmos_m10_w5_000_.add(gdstk.Reference(bias_l2_contact_8, (2.68,2.335)))
bias_l2_nmos_m10_w5_000_.add(gdstk.Reference(bias_l2_contact_8, (3.22,2.335)))
bias_l2_nmos_m10_w5_000_.add(gdstk.Reference(bias_l2_contact_8, (3.76,2.335)))
bias_l2_nmos_m10_w5_000_.add(gdstk.Reference(bias_l2_contact_8, (4.3,2.335)))
bias_l2_nmos_m10_w5_000_.add(gdstk.Reference(bias_l2_contact_8, (4.84,2.335)))
bias_l2_nmos_m10_w5_000_.add(gdstk.Reference(bias_l2_contact_8, (5.36,2.335)))
bias_l2_nmos_m10_w5_000_.add(gdstk.Label('G', (2.805,5.205), layer=66, texttype=5))
bias_l2_nmos_m10_w5_000_.add(gdstk.Label('S', (2.265,2.5), layer=67, texttype=5))
bias_l2_nmos_m10_w5_000_.add(gdstk.Label('S', (5.485,2.5), layer=67, texttype=5))
bias_l2_nmos_m10_w5_000_.add(gdstk.Label('S', (0.125,2.5), layer=67, texttype=5))
bias_l2_nmos_m10_w5_000_.add(gdstk.Label('S', (1.185,2.5), layer=67, texttype=5))
bias_l2_nmos_m10_w5_000_.add(gdstk.Label('S', (4.425,2.5), layer=67, texttype=5))
bias_l2_nmos_m10_w5_000_.add(gdstk.Label('S', (3.345,2.5), layer=67, texttype=5))
bias_l2_nmos_m10_w5_000_.add(gdstk.Label('D', (2.805,2.92), layer=67, texttype=5))

bias_l2_pinv_3 = lib.new_cell('bias_l2_pinv_3')
R(bias_l2_pinv_3, nwell, [(-0.18,5.575,6.88,11.9)])
R(bias_l2_pinv_3, poly, [(0.57,5.535,0.72,6.08), (0.405,5.64,0.57,5.97)])
A(bias_l2_pinv_3, li1, 1.37, -0.085, 0.17, 2.675, 4, 1, 1.08, 0)
A(bias_l2_pinv_3, li1, 1.37, 8.695, 0.17, 3.005, 4, 1, 1.08, 0)
R(bias_l2_pinv_3, li1, [(0,-0.085,6.7,0.085), (0.31,-0.085,0.48,2.59), (5.67,-0.085,5.84,2.59), (6.19,0,6.36,0.46), (2.99,3.09,3.16,8.525), (0.32,5.64,0.49,5.97), (3.075,5.72,3.245,5.89), (0.31,8.695,0.48,11.7), (5.67,8.695,5.84,11.7), (6.19,11.09,6.36,11.61), (0,11.53,6.7,11.7)])
R(bias_l2_pinv_3, stdcell_id, [(0,0,6.7,11.61), (0,0,6.7,11.61)])
R(bias_l2_pinv_3, nsdm, [(0,-0.19,6.7,0.19), (0,0,6.005,5.38)])
R(bias_l2_pinv_3, psdm, [(0,6.235,6.005,11.615), (0,11.42,6.7,11.8)])
R(bias_l2_pinv_3, boundary, [(0,0,6.7,11.61), (0,0,6.7,11.61)])
bias_l2_pinv_3.add(gdstk.Reference(bias_l2_pmos_m10_w5_000_, (0.27,6.36)))
bias_l2_pinv_3.add(gdstk.Reference(bias_l2_nmos_m10_w5_000_, (0.27,0.255)))
bias_l2_pinv_3.add(gdstk.Reference(bias_l2_contact_26, (6.15,10.885)))
bias_l2_pinv_3.add(gdstk.Reference(bias_l2_contact_27, (6.15,0.255)))
bias_l2_pinv_3.add(gdstk.Reference(bias_l2_contact_11, (0.24,5.64)))
bias_l2_pinv_3.add(gdstk.Label('A', (0.405,5.805), layer=67, texttype=5))
bias_l2_pinv_3.add(gdstk.Label('Z', (3.16,5.805), layer=67, texttype=5))
bias_l2_pinv_3.add(gdstk.Label('gnd', (3.35,0), layer=67, texttype=5))
bias_l2_pinv_3.add(gdstk.Label('vdd', (3.35,11.615), layer=67, texttype=5))

bias_l2_rom_precharge_dr = lib.new_cell('bias_l2_rom_precharge_driver')
R(bias_l2_rom_precharge_dr, nwell, [(-0.18,5.575,16.94,11.9)])
R(bias_l2_rom_precharge_dr, li1, [(0,-0.085,16.76,0.085), (5.135,5.22,5.305,5.39), (5.22,5.22,7.005,5.39), (5.135,5.305,5.305,5.555), (8.055,5.305,8.225,5.805), (0.32,5.45,0.49,5.78), (2.755,5.47,2.925,5.64), (2.84,5.47,4.625,5.64), (2.755,5.555,2.925,5.675), (0.895,5.59,1.065,5.76), (0.98,5.59,2.245,5.76), (0.895,5.615,1.065,5.675), (8.055,5.72,8.225,5.89), (8.14,5.72,10.465,5.89), (13.135,5.72,13.305,5.89), (0,11.525,16.76,11.695)])
R(bias_l2_rom_precharge_dr, stdcell_id, [(0,0,16.76,11.61), (0,0,16.76,11.61)])
R(bias_l2_rom_precharge_dr, nsdm, [(0,-0.19,16.76,0.19)])
R(bias_l2_rom_precharge_dr, psdm, [(0,11.42,16.76,11.8)])
R(bias_l2_rom_precharge_dr, boundary, [(0,0,16.76,11.61), (0,0,16.76,11.61)])
bias_l2_rom_precharge_dr.add(gdstk.Reference(bias_l2_pinv, (0,0)))
bias_l2_rom_precharge_dr.add(gdstk.Reference(bias_l2_pinv_0, (1.84,0)))
bias_l2_rom_precharge_dr.add(gdstk.Reference(bias_l2_pinv_1, (4.22,0)))
bias_l2_rom_precharge_dr.add(gdstk.Reference(bias_l2_pinv_2, (6.6,0)))
bias_l2_rom_precharge_dr.add(gdstk.Reference(bias_l2_pinv_3, (10.06,0)))
bias_l2_rom_precharge_dr.add(gdstk.Label('Z', (13.22,5.805), layer=67, texttype=5))
bias_l2_rom_precharge_dr.add(gdstk.Label('A', (0.405,5.615), layer=67, texttype=5))
bias_l2_rom_precharge_dr.add(gdstk.Label('gnd', (8.38,0), layer=67, texttype=5))
bias_l2_rom_precharge_dr.add(gdstk.Label('vdd', (8.38,11.61), layer=67, texttype=5))

bias_l2_contact_17 = lib.new_cell('bias_l2_contact_17')
R(bias_l2_contact_17, li1, [(0,0.06,0.33,0.23)])
R(bias_l2_contact_17, mcon, [(0.08,0.06,0.25,0.23)])
R(bias_l2_contact_17, met1, [(0.05,0,0.28,0.29)])
R(bias_l2_contact_17, stdcell_id, [(0,0,0.33,0.29)])
R(bias_l2_contact_17, boundary, [(0,0,0.33,0.29)])

bias_l2_contact_18 = lib.new_cell('bias_l2_contact_18')
R(bias_l2_contact_18, met1, [(0.03,0,0.29,0.32)])
R(bias_l2_contact_18, via, [(0.085,0.085,0.235,0.235)])
R(bias_l2_contact_18, met2, [(0,0.03,0.32,0.29)])
R(bias_l2_contact_18, stdcell_id, [(0,0,0.32,0.32)])
R(bias_l2_contact_18, boundary, [(0,0,0.32,0.32)])

bias_l2_contact_21 = lib.new_cell('bias_l2_contact_21')
R(bias_l2_contact_21, met2, [(0,0.025,0.37,0.305)])
R(bias_l2_contact_21, via2, [(0.085,0.065,0.285,0.265)])
R(bias_l2_contact_21, met3, [(0.02,0,0.35,0.33)])
R(bias_l2_contact_21, stdcell_id, [(0,0,0.37,0.33)])
R(bias_l2_contact_21, boundary, [(0,0,0.37,0.33)])

bias_l2_contact_12 = lib.new_cell('bias_l2_contact_12')
R(bias_l2_contact_12, li1, [(0.06,0,0.23,0.33)])
R(bias_l2_contact_12, mcon, [(0.06,0.08,0.23,0.25)])
R(bias_l2_contact_12, met1, [(0,0.05,0.29,0.28)])
R(bias_l2_contact_12, stdcell_id, [(0,0,0.29,0.33)])
R(bias_l2_contact_12, boundary, [(0,0,0.29,0.33)])

bias_l2_rom_control_logi = lib.new_cell('bias_l2_rom_control_logic')
R(bias_l2_rom_control_logi, li1, [(4.78,1.185,4.95,1.515), (0.32,5.45,0.49,5.78), (2.755,5.59,2.925,5.76), (13.135,17.335,13.305,17.505)])
R(bias_l2_rom_control_logi, met1, [(1.98,-0.16,2.24,0.16), (2.77,2.52,2.91,2.66), (2.84,2.52,5.365,2.66), (2.77,2.59,2.91,5.675), (5.885,10.3,6.025,17.05), (1.98,11.45,2.24,11.77), (0.335,16.98,0.475,17.12), (0.405,16.98,5.955,17.12), (5.885,16.98,6.025,17.12), (0.335,17.05,0.475,17.61), (8.25,23.065,8.51,23.385)])
R(bias_l2_rom_control_logi, met2, [(1.925,-0.09,2.295,0.095), (1.925,11.52,2.295,11.705), (8.195,23.13,8.565,23.315)])
R(bias_l2_rom_control_logi, met3_5, [(1.865,-0.245,2.355,0.245), (1.865,11.365,2.355,11.855), (8.135,22.98,8.625,23.47)])
R(bias_l2_rom_control_logi, met3, [(1.865,-0.245,2.355,0.245), (1.865,11.365,2.355,11.855), (8.135,22.98,8.625,23.47)])
R(bias_l2_rom_control_logi, stdcell_id, [(0,0,16.76,23.22)])
R(bias_l2_rom_control_logi, boundary, [(0,0,16.76,23.22)])
bias_l2_rom_control_logi.add(gdstk.Reference(bias_l2_rom_clock_driver, (0,0)))
bias_l2_rom_control_logi.add(gdstk.Reference(bias_l2_rom_control_nand, (4.22,0)))
bias_l2_rom_control_logi.add(gdstk.Reference(bias_l2_rom_precharge_dr, (0,23.225), x_reflection=True))
bias_l2_rom_control_logi.add(gdstk.Reference(bias_l2_contact_17, (1.945,-0.145)))
bias_l2_rom_control_logi.add(gdstk.Reference(bias_l2_contact_18, (1.95,-0.16)))
bias_l2_rom_control_logi.add(gdstk.Reference(bias_l2_contact_21, (1.925,-0.165)))
bias_l2_rom_control_logi.add(gdstk.Reference(bias_l2_contact_17, (8.215,23.08)))
bias_l2_rom_control_logi.add(gdstk.Reference(bias_l2_contact_18, (8.22,23.065)))
bias_l2_rom_control_logi.add(gdstk.Reference(bias_l2_contact_21, (8.195,23.06)))
bias_l2_rom_control_logi.add(gdstk.Reference(bias_l2_contact_17, (1.945,11.465)))
bias_l2_rom_control_logi.add(gdstk.Reference(bias_l2_contact_18, (1.95,11.45)))
bias_l2_rom_control_logi.add(gdstk.Reference(bias_l2_contact_21, (1.925,11.445)))
bias_l2_rom_control_logi.add(gdstk.Reference(bias_l2_contact_12, (2.695,5.51)))
bias_l2_rom_control_logi.add(gdstk.Reference(bias_l2_contact_12, (5.22,2.425)))
bias_l2_rom_control_logi.add(gdstk.Reference(bias_l2_contact_12, (5.81,10.135)))
bias_l2_rom_control_logi.add(gdstk.Reference(bias_l2_contact_12, (0.26,17.445)))
bias_l2_rom_control_logi.add(gdstk.Label('clk_in', (0.405,5.615), layer=67, texttype=5))
bias_l2_rom_control_logi.add(gdstk.Label('clk_out', (2.84,5.675), layer=67, texttype=5))
bias_l2_rom_control_logi.add(gdstk.Label('prechrg', (13.22,17.42), layer=67, texttype=5))
bias_l2_rom_control_logi.add(gdstk.Label('CS', (4.865,1.35), layer=67, texttype=5))
bias_l2_rom_control_logi.add(gdstk.Label('gnd', (8.38,23.225), layer=70, texttype=5))
bias_l2_rom_control_logi.add(gdstk.Label('gnd', (2.11,0), layer=70, texttype=5))
bias_l2_rom_control_logi.add(gdstk.Label('vdd', (2.11,11.61), layer=70, texttype=5))

lib.write_gds('bias_l2_rom_control_logic.gds')
